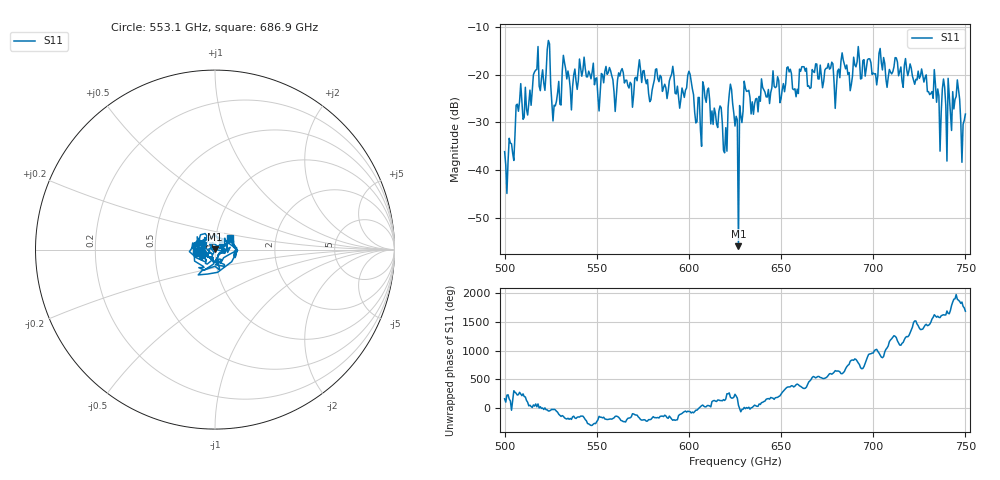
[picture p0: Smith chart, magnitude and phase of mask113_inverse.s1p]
!Created with skrf (http://scikit-rf.org).
# GHz S MA R 50.0
!freq magS11 angS11
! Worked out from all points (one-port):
!   401 points, 500 GHz to 750 GHz, reference 50 ohm
!   lowest |S11| = -56.0 dB at 626.9 GHz (marker M1), VSWR 1.00, Z = 50.1 + j0.115 ohm
!   |S11| at or under -10 dB: start of sweep to end of sweep
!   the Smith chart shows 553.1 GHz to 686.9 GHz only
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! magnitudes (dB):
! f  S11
! 500 GHz  -36.2
! 504.4 GHz  -36.5
! 507.5 GHz  -27.7
! 513.1 GHz  -26.0
! 516.9 GHz  -19.1
! 520.6 GHz  -19.0
! 523.8 GHz  -12.8
! 526.9 GHz  -26.4
! 531.2 GHz  -19.5
! 562.5 GHz  -20.3
! 579.4 GHz  -25.3
! 590.6 GHz  -19.9
! 593.8 GHz  -22.4
! 600.6 GHz  -19.9
! 605.6 GHz  -24.8
! 608.8 GHz  -24.9
! 619.4 GHz  -36.4
! 622.5 GHz  -22.0
! 625 GHz  -30.8
! 625.6 GHz  -28.8
! 626.9 GHz  -56.0
! 631.2 GHz  -23.5
! 635 GHz  -28.3
! 656.2 GHz  -23.0
! 687.5 GHz  -23.4
! 690.6 GHz  -18.4
! 718.8 GHz  -20.2
! 750 GHz  -28.3
